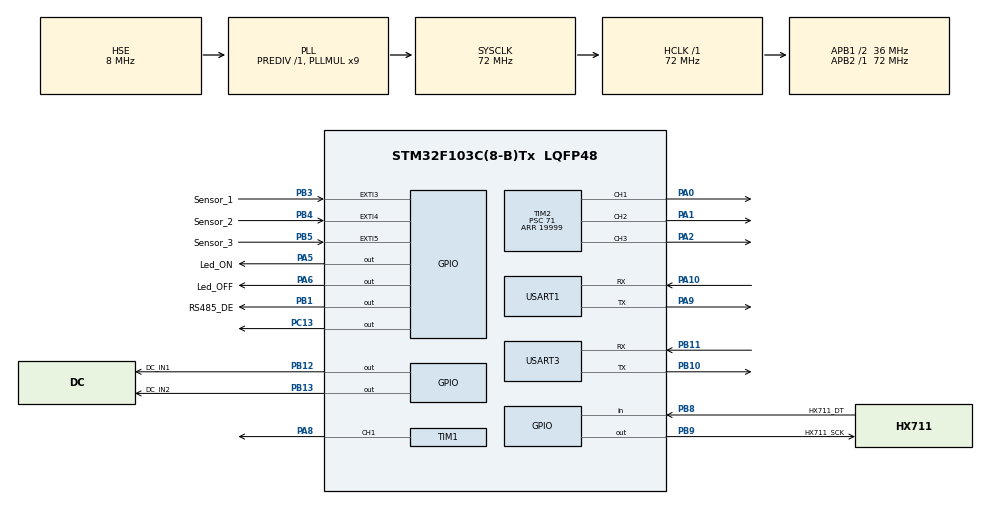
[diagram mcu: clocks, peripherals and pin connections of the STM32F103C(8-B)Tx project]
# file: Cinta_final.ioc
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IWDG.Prescaler=IWDG_PRESCALER_256
Mcu.Family=STM32F1
Mcu.Name=STM32F103C(8-B)Tx
Mcu.Package=LQFP48
NVIC.EXTI3_IRQn=true\:0\:0\:false\:false\:true\:true\:true\:true
NVIC.EXTI4_IRQn=true\:0\:0\:false\:false\:true\:true\:true\:true
NVIC.EXTI9_5_IRQn=true\:0\:0\:false\:false\:true\:true\:true\:true
NVIC.PriorityGroup=NVIC_PRIORITYGROUP_4
NVIC.USART1_IRQn=true\:0\:0\:false\:false\:true\:true\:true\:true
NVIC.USART3_IRQn=true\:0\:0\:false\:false\:true\:true\:true\:true
PA0-WKUP.Signal=S_TIM2_CH1_ETR
PA1.Signal=S_TIM2_CH2
PA10.Mode=Asynchronous
PA10.Signal=USART1_RX
PA2.Signal=S_TIM2_CH3
PA5.GPIO_Label=Led_ON
PA5.Signal=GPIO_Output
PA6.GPIO_Label=Led_OFF
PA6.Signal=GPIO_Output
PA8.Signal=S_TIM1_CH1
PA9.Mode=Asynchronous
PA9.Signal=USART1_TX
PB1.GPIO_Label=RS485_DE
PB1.Signal=GPIO_Output
PB10.Mode=Asynchronous
PB10.Signal=USART3_TX
PB11.Mode=Asynchronous
PB11.Signal=USART3_RX
PB12.GPIO_Label=DC_IN1
PB12.Signal=GPIO_Output
PB13.GPIO_Label=DC_IN2
PB13.Signal=GPIO_Output
PB3.GPIO_Label=Sensor_1
PB3.GPIO_ModeDefaultEXTI=GPIO_MODE_IT_FALLING
PB3.GPIO_PuPd=GPIO_PULLUP
PB3.Signal=GPXTI3
PB4.GPIO_Label=Sensor_2
PB4.GPIO_ModeDefaultEXTI=GPIO_MODE_IT_FALLING
PB4.GPIO_PuPd=GPIO_PULLUP
PB4.Signal=GPXTI4
PB5.GPIO_Label=Sensor_3
PB5.GPIO_ModeDefaultEXTI=GPIO_MODE_IT_FALLING
PB5.GPIO_PuPd=GPIO_PULLUP
PB5.Signal=GPXTI5
PB8.GPIO_Label=HX711_DT
PB8.Signal=GPIO_Input
PB9.GPIO_Label=HX711_SCK
PB9.Signal=GPIO_Output
PC13-TAMPER-RTC.Signal=GPIO_Output
PD0-OSC_IN.Mode=HSE-External-Oscillator
PD0-OSC_IN.Signal=RCC_OSC_IN
PD1-OSC_OUT.Mode=HSE-External-Oscillator
PD1-OSC_OUT.Signal=RCC_OSC_OUT
ProjectManager.HeapSize=0x200
ProjectManager.StackSize=0x400
ProjectManager.TargetToolchain=STM32CubeIDE
RCC.AHBFreq_Value=72000000
RCC.APB1CLKDivider=RCC_HCLK_DIV2
RCC.APB1Freq_Value=36000000
RCC.APB1TimFreq_Value=72000000
RCC.APB2Freq_Value=72000000
RCC.APB2TimFreq_Value=72000000
RCC.HCLKFreq_Value=72000000
RCC.PLLMUL=RCC_PLL_MUL9
RCC.PLLSourceVirtual=RCC_PLLSOURCE_HSE
RCC.SYSCLKFreq_VALUE=72000000
RCC.SYSCLKSource=RCC_SYSCLKSOURCE_PLLCLK
RCC.USBFreq_Value=72000000
SH.S_TIM1_CH1.0=TIM1_CH1,PWM Generation1 CH1
SH.S_TIM2_CH1_ETR.0=TIM2_CH1,PWM Generation1 CH1
SH.S_TIM2_CH2.0=TIM2_CH2,PWM Generation2 CH2
SH.S_TIM2_CH3.0=TIM2_CH3,PWM Generation3 CH3
TIM1.Channel-PWM\ Generation1\ CH1=TIM_CHANNEL_1
TIM1.Period=3559
TIM1.Prescaler=0
TIM2.Channel-PWM\ Generation1\ CH1=TIM_CHANNEL_1
TIM2.Channel-PWM\ Generation2\ CH2=TIM_CHANNEL_2
TIM2.Channel-PWM\ Generation3\ CH3=TIM_CHANNEL_3
TIM2.Period=19999
TIM2.Prescaler=71
USART1.VirtualMode=VM_ASYNC
USART3.VirtualMode=VM_ASYNC
VP_IWDG_VS_IWDG.Mode=IWDG_Activate
VP_SYS_VS_ND.Mode=No_Debug
VP_TIM1_VS_ClockSourceINT.Mode=Internal
VP_TIM2_VS_ClockSourceINT.Mode=Internal
VP_TIM3_VS_ClockSourceINT.Mode=Internal
board=custom

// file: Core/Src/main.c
/* USER CODE BEGIN Header */
/**
  ******************************************************************************
  * @file           : main.c
  * @brief          : Main program body
  ******************************************************************************
  * @attention
  *
  * Copyright (c) 2026 STMicroelectronics.
  * All rights reserved.
  *
  * This software is licensed under terms that can be found in the LICENSE file
  * in the root directory of this software component.
  * If no LICENSE file comes with this software, it is provided AS-IS.
  *
  ******************************************************************************
  ***/
/* USER CODE END Header */
#include "main.h"
#include "iwdg.h"
#include "tim.h"
#include "usart.h"
#include "gpio.h"

/* USER CODE BEGIN Includes */
#include "hx711.h"
#include <stdio.h>
#include <stdlib.h>
#include <string.h>
#include "rs485.h"
#include "protocolo_rs485.h"
/* USER CODE END Includes */

/* USER CODE BEGIN PTD */
//definicion estados y sub_estados
typedef enum
{
	E_desactivado = 	0,
	E_configurando = 	1,
	E_activado = 		2,
	E_error = 			3
} ESTADO;

typedef enum
{
	C_andando = 			0,
	C_pesando =				1,
	C_detenida =			2,
	C_esperando_reinicio =	3,
	C_acelerando =			4,
	C_desacelerando =		5,
	C_esperando_maestro =	6
} SUB_ESTADO;
/* USER CODE END PTD */

/* USER CODE BEGIN PD */
#define BUFFER_SIZE 128

#define PWM_C_andando 600 //pwm para cinta andando
#define PWM_C_detenido 250 //pwm para el cual la cinta se detiene

#define PULSE_MIN       550 // servo 0°
#define PULSE_MAX       2450 //servp 180°
#define PULSE_REPOSO    1500 //servo deja pasar objeto
#define PULSE_ABIERTO   800 //servo desvia objeto

#define PESO_DETECCION  30000 // peso minimo para deteccion de la cinta
#define PESO_LIBRE      20000 // histerisis para deteccion peso libre, para pesos menores detectamos que esta libre

#define SENSOR_ANTIRREBOTE_MS 10
#define FIFO_TAMANO 10
#define SENSOR_FILTRO_MS 1

#define RS485_RESPUESTA_DELAY_MS       5

#define CANTIDAD_CLASIFICADORES 3
#define TOLERANCIA_PESO_PORCENTAJE 5

typedef struct // estructura FIFO para procesar clasificacion
{
    uint8_t datos[FIFO_TAMANO];  //destinos
    uint8_t entrada;  //posicion donde agregar el proximo
    uint8_t salida;  //posicion del mas antigui
    uint8_t cantidad;
} FIFO;

typedef struct //estructura para definir cada clasificacion, servo=objeto
{
    uint8_t id; //id de cada servo
    int32_t peso_objetivo;

    int32_t peso_min; //rango de clasificacion
    int32_t peso_max;

    GPIO_TypeDef *sensor_port; //sensor de deteccion asociado
    uint16_t sensor_pin;
    volatile uint8_t sensor_pendiente;
    volatile uint32_t tick_sensor;
    uint32_t ultimo_sensor;

    FIFO cola; //cola de objetos a clasificar

    TIM_HandleTypeDef *timer; // timmer que envia señales al servo
    uint32_t pwm_channel;
    uint16_t pwm_reposo;
    uint16_t pwm_abierto;

} CLASIFICADOR;

/* USER CODE END PD */

/* USER CODE BEGIN PV */
static volatile ESTADO Estado = E_desactivado;
static volatile SUB_ESTADO sub_Estado = C_detenida;

//variables de la UART local
uint8_t rx_byte;
volatile uint8_t recibiendo = 0;
volatile uint8_t comando_listo = 0;
volatile uint8_t indice = 0;
char buffer_rx[BUFFER_SIZE];
char buffer_tx[BUFFER_SIZE];

int32_t weight = 0;
uint8_t configuracion_lista=0;

uint16_t valor_pwm_actual = 0;
uint32_t tiempo_fin_pesaje = 0;
uint16_t rampa_pwm_objetivo = 0;
uint16_t rampa_paso = 0;
uint32_t rampa_retardo_ms = 0;
uint32_t rampa_ultimo_tick = 0;
uint8_t sub_Estado_siguiente = 0;
int32_t pesos_estabilidad[10];
uint8_t cantidad_pesajes = 0;
uint32_t objetos_ok = 0;
uint32_t objetos_descarte = 0;
uint32_t objetos_control = 0;

CLASIFICADOR clasificadores[CANTIDAD_CLASIFICADORES];

static uint8_t aviso_esperando_pendiente = 0;
static uint16_t aviso_esperando_secuencia = 0;

static uint8_t aviso_peso_pendiente = 0;
static uint16_t aviso_peso_decigramos = 0;

/* USER CODE END PV */

void SystemClock_Config(void);
/* USER CODE BEGIN PFP */
void maquina_estados(void);
void interpretar_comando(void);
void enviar_estado_uart(void);
void Set_DutyCycle_DC_PWM(uint16_t valor_pwm);
void desactivar(void);
uint8_t Verificar_Peso_Por_Pasos(int32_t *peso_promedio);
uint8_t FIFO_Agregar(FIFO *cola, uint8_t valor);
uint8_t FIFO_Sacar(FIFO *cola, uint8_t *valor);
void FIFO_Limpiar(FIFO *cola);
uint8_t Obtener_Destino(int32_t peso);
void Procesar_Clasificador(uint8_t indice);
static void procesar_rs485_cinta(void);
static HAL_StatusTypeDef cinta_enviar_rs485(uint8_t destino,uint8_t comando,uint8_t param_h,uint8_t param_l);
static void cinta_responder_resultado(uint8_t origen,uint8_t respuesta,uint8_t comando_solicitado,uint8_t codigo);
static void cinta_generar_aviso_esperando_maestro(void);
static void cinta_generar_aviso_peso(int32_t peso_mg);
void Clasificadores_Init(void);

/* USER CODE END PFP */

int main(void)
{

  /* MCU Configuration--------------------------------------------------------*/

  /* Reset of all peripherals, Initializes the Flash interface and the Systick. */
  HAL_Init();

  /* Configure the system clock */
  SystemClock_Config();

  /* Initialize all configured peripherals */
  MX_GPIO_Init();
  MX_TIM1_Init();
  MX_TIM2_Init();
  MX_TIM3_Init();
  MX_USART1_UART_Init();
  MX_IWDG_Init();
  MX_USART3_UART_Init();
  /* USER CODE BEGIN 2 */

  Clasificadores_Init();
  HAL_UART_Receive_IT(&huart1, &rx_byte, 1);
  sprintf(buffer_tx, "Iniciando...\r\n");
  HAL_UART_Transmit(&huart1, (uint8_t*)buffer_tx, strlen(buffer_tx), HAL_MAX_DELAY);

  if (RS485_Init(&huart3, RS485_DE_GPIO_Port,RS485_DE_Pin,ID_CINTA) != HAL_OK)
  {
      Error_Handler();
  }

  //Estado inicial
  HAL_GPIO_WritePin(GPIOA, Led_ON_Pin, GPIO_PIN_RESET); //leds
  HAL_GPIO_WritePin(GPIOA, Led_OFF_Pin, GPIO_PIN_SET);
  Estado = E_desactivado;

  HX711_Init(); //inicio balanza

  HAL_GPIO_WritePin(GPIOB, DC_IN1_Pin, GPIO_PIN_RESET); // habilito motor_dc
  HAL_GPIO_WritePin(GPIOB, DC_IN2_Pin, GPIO_PIN_RESET);
  Set_DutyCycle_DC_PWM(0);

  for (uint8_t i = 0; i < CANTIDAD_CLASIFICADORES; i++) //servos en reposo
  {
      HAL_TIM_PWM_Start(clasificadores[i].timer,clasificadores[i].pwm_channel);
      __HAL_TIM_SET_COMPARE(clasificadores[i].timer,clasificadores[i].pwm_channel,clasificadores[i].pwm_reposo);
  }

  /* USER CODE END 2 */

  /* Infinite loop */
  while (1)
  {

    /* USER CODE BEGIN 3 */
	  procesar_rs485_cinta();

	  if (comando_listo == 1)
	  {
		  comando_listo = 0;
		  interpretar_comando();
	  }

	  maquina_estados();

	  if (HAL_IWDG_Refresh(&hiwdg) != HAL_OK)
	  {
	      Error_Handler();
	  }
  }
  /* USER CODE END 3 */
}

void SystemClock_Config(void)
{
  RCC_OscInitTypeDef RCC_OscInitStruct = {0};
  RCC_ClkInitTypeDef RCC_ClkInitStruct = {0};

  /** Initializes the RCC Oscillators according to the specified parameters
  * in the RCC_OscInitTypeDef structure.
  */
  RCC_OscInitStruct.OscillatorType = RCC_OSCILLATORTYPE_LSI|RCC_OSCILLATORTYPE_HSE;
  RCC_OscInitStruct.HSEState = RCC_HSE_ON;
  RCC_OscInitStruct.HSEPredivValue = RCC_HSE_PREDIV_DIV1;
  RCC_OscInitStruct.HSIState = RCC_HSI_ON;
  RCC_OscInitStruct.LSIState = RCC_LSI_ON;
  RCC_OscInitStruct.PLL.PLLState = RCC_PLL_ON;
  RCC_OscInitStruct.PLL.PLLSource = RCC_PLLSOURCE_HSE;
  RCC_OscInitStruct.PLL.PLLMUL = RCC_PLL_MUL9;
  if (HAL_RCC_OscConfig(&RCC_OscInitStruct) != HAL_OK)
  {
    Error_Handler();
  }

  /** Initializes the CPU, AHB and APB buses clocks
  */
  RCC_ClkInitStruct.ClockType = RCC_CLOCKTYPE_HCLK|RCC_CLOCKTYPE_SYSCLK
                              |RCC_CLOCKTYPE_PCLK1|RCC_CLOCKTYPE_PCLK2;
  RCC_ClkInitStruct.SYSCLKSource = RCC_SYSCLKSOURCE_PLLCLK;
  RCC_ClkInitStruct.AHBCLKDivider = RCC_SYSCLK_DIV1;
  RCC_ClkInitStruct.APB1CLKDivider = RCC_HCLK_DIV2;
  RCC_ClkInitStruct.APB2CLKDivider = RCC_HCLK_DIV1;

  if (HAL_RCC_ClockConfig(&RCC_ClkInitStruct, FLASH_LATENCY_2) != HAL_OK)
  {
    Error_Handler();
  }
}

/* USER CODE BEGIN 4 */
void Clasificadores_Init(void)
{
	// definicion de cada objeto
    clasificadores[0].id = 1;
    clasificadores[0].peso_objetivo = 50000;
    clasificadores[0].sensor_port = Sensor_1_GPIO_Port;
    clasificadores[0].sensor_pin = Sensor_1_Pin;
    clasificadores[0].timer = &htim2;
    clasificadores[0].pwm_channel = TIM_CHANNEL_1;
    clasificadores[0].pwm_reposo = PULSE_REPOSO;
    clasificadores[0].pwm_abierto = PULSE_ABIERTO;

    clasificadores[1].id = 2;
    clasificadores[1].peso_objetivo = 100000;
    clasificadores[1].sensor_port = Sensor_2_GPIO_Port;
    clasificadores[1].sensor_pin = Sensor_2_Pin;
    clasificadores[1].timer = &htim2;
    clasificadores[1].pwm_channel = TIM_CHANNEL_2;
    clasificadores[1].pwm_reposo = PULSE_REPOSO;
    clasificadores[1].pwm_abierto = PULSE_ABIERTO;

    clasificadores[2].id = 3;
    clasificadores[2].peso_objetivo = 150000;
    clasificadores[2].sensor_port = Sensor_3_GPIO_Port;
    clasificadores[2].sensor_pin = Sensor_3_Pin;
    clasificadores[2].timer = &htim2;
    clasificadores[2].pwm_channel = TIM_CHANNEL_3;
    clasificadores[2].pwm_reposo = PULSE_REPOSO;
    clasificadores[2].pwm_abierto = PULSE_ABIERTO;

    for (uint8_t i = 0; i < CANTIDAD_CLASIFICADORES; i++)
    {
    	//configuro peso min y max
        clasificadores[i].peso_min = clasificadores[i].peso_objetivo -(clasificadores[i].peso_objetivo *
        							TOLERANCIA_PESO_PORCENTAJE) / 100;

        clasificadores[i].peso_max = clasificadores[i].peso_objetivo +(clasificadores[i].peso_objetivo *
        							TOLERANCIA_PESO_PORCENTAJE) / 100;
        //inicio colas
        clasificadores[i].cola.entrada = 0;
        clasificadores[i].cola.salida = 0;
        clasificadores[i].cola.cantidad = 0;

        clasificadores[i].sensor_pendiente = 0;
        clasificadores[i].tick_sensor = 0;
        clasificadores[i].ultimo_sensor = 0;
    }
    uint32_t ahora = HAL_GetTick();
    for (uint8_t i = 0; i < CANTIDAD_CLASIFICADORES; i++)
    {
    	// inicio antirebote, asi procesa desde el inicio
        clasificadores[i].ultimo_sensor = ahora - SENSOR_ANTIRREBOTE_MS;
    }
}

void maquina_estados(void){
	switch(Estado)
	{
		  case E_desactivado:
			  break;
		  case E_configurando:
			  break;
		  case E_activado:
			  for (uint8_t i = 0; i < CANTIDAD_CLASIFICADORES; i++)// reviso si hay un sensor por procesar
			  {
				  CLASIFICADOR *c = &clasificadores[i];
				  if (c->sensor_pendiente != 0) //estaba el flag del sensor del clasificador correspondiente
				  {
					  if ((HAL_GetTick() - c->tick_sensor) >= SENSOR_FILTRO_MS)   //paso el tiempo necesario del filtrp
					  {
						  c->sensor_pendiente = 0;
						  if (HAL_GPIO_ReadPin(c->sensor_port, c->sensor_pin) == GPIO_PIN_RESET)
						  {
							  Procesar_Clasificador(i); //hay objeto en el sensor, debo prosar segun clasificacion
						  }
					  }
				  }
			  }
			  switch(sub_Estado)
			  {
				 case C_detenida:
					  //espera a pasar a C_andando
					  break;
				 case C_andando:
				 {
					HAL_StatusTypeDef estado_hx711;
					estado_hx711 =HX711_WeighNonBlocking(&weight);
					if (estado_hx711 == HAL_TIMEOUT ||estado_hx711 == HAL_ERROR){
						desactivar();
						Estado = E_error;
						snprintf(buffer_tx,sizeof(buffer_tx),"ERROR: HX711\r\n");
						HAL_UART_Transmit(&huart1,(uint8_t *)buffer_tx,strlen(buffer_tx),HAL_MAX_DELAY);
						break;
					}
					if (estado_hx711 == HAL_BUSY){
						// no hay dato listo, da otro vuelta al programa sin bloquearlo, hasta que un dato este listo
						break;
					}
					if (weight >= PESO_DETECCION) //detecto un objeto en la cinta
					{
						cantidad_pesajes = 0;

						rampa_pwm_objetivo = PWM_C_detenido;
						rampa_paso = 10;
						rampa_retardo_ms = 10;
						rampa_ultimo_tick = HAL_GetTick();
						sub_Estado_siguiente = C_esperando_maestro; //frena y espera la orden del maestro para confinuar co el pesaje
						sub_Estado = C_desacelerando;
					}
					break;
				 }
				 case C_pesando:
					switch (Verificar_Peso_Por_Pasos(&weight))
					{
						case 1: // peso estable, almacenado en weight
						{
							uint8_t destino = Obtener_Destino(weight);
							if (destino != 0){
								if (FIFO_Agregar(&clasificadores[0].cola, destino) == 0){
									desactivar();
									Estado = E_error;
									snprintf(buffer_tx,sizeof(buffer_tx),"ERROR:COLA_LLENA\r\n");
									HAL_UART_Transmit(&huart1,(uint8_t *)buffer_tx,strlen(buffer_tx),HAL_MAX_DELAY);
									break;
								}
							}
							// clasificacion exitosa, la cinta continua andando
							snprintf(buffer_tx,sizeof(buffer_tx),"Peso: %ld\r\n",(long)weight);
							HAL_UART_Transmit(&huart1,(uint8_t *)buffer_tx,strlen(buffer_tx),HAL_MAX_DELAY);

							cinta_generar_aviso_peso(weight); //levanta flag para maestro

							rampa_pwm_objetivo = PWM_C_andando; //comienza a anda denuevo
							rampa_paso = 10;
							rampa_retardo_ms = 10;
							rampa_ultimo_tick = HAL_GetTick();
							sub_Estado_siguiente = C_esperando_reinicio;
							sub_Estado = C_acelerando;
							tiempo_fin_pesaje = HAL_GetTick();
							break;
						}
						case 2:
							//Peso inestable, descarta y vuelve a tomar mediciones
							break;
						case 3:
							//Todavía faltan pesajes
							break;
						case 0: //error
						default:
							desactivar();
							Estado = E_error;
							snprintf(buffer_tx,sizeof(buffer_tx),"ERROR:\r\n");
							HAL_UART_Transmit(&huart1,(uint8_t *)buffer_tx, strlen(buffer_tx),HAL_MAX_DELAY);
							break;
						}
						break;
					case C_esperando_reinicio:
					{
						if ((HAL_GetTick() - tiempo_fin_pesaje) >= 1000){
							HAL_StatusTypeDef estado_hx711;
							estado_hx711 = HX711_WeighNonBlocking(&weight);
							if (estado_hx711 == HAL_TIMEOUT ||estado_hx711 == HAL_ERROR){
								desactivar();
								Estado = E_error;
								snprintf(buffer_tx,sizeof(buffer_tx),"ERROR: HX711\r\n");
								HAL_UART_Transmit(&huart1,(uint8_t *)buffer_tx,strlen(buffer_tx),HAL_MAX_DELAY);
							}else if ((estado_hx711 == HAL_OK) &&(weight < PESO_LIBRE)){
								sub_Estado = C_andando;
							} //si esata BUSY, da otra vuelta
						}
						break;
					}
					case C_desacelerando:
					case C_acelerando:
						if (HAL_GetTick() - rampa_ultimo_tick >= rampa_retardo_ms) {
							if (valor_pwm_actual < rampa_pwm_objetivo) {
								// Subiendo velocidad
								if ((rampa_pwm_objetivo - valor_pwm_actual) <= rampa_paso) {
									Set_DutyCycle_DC_PWM(rampa_pwm_objetivo);
								} else {
									Set_DutyCycle_DC_PWM(valor_pwm_actual + rampa_paso);
								}
							}
							else if (valor_pwm_actual > rampa_pwm_objetivo) {
								// Bajando velocidad
								if ((valor_pwm_actual - rampa_pwm_objetivo) <= rampa_paso) {
									Set_DutyCycle_DC_PWM(rampa_pwm_objetivo);
								} else {
									Set_DutyCycle_DC_PWM(valor_pwm_actual - rampa_paso);
								}
							}
							rampa_ultimo_tick = HAL_GetTick();
							if (valor_pwm_actual == rampa_pwm_objetivo) {
								if (rampa_pwm_objetivo == PWM_C_detenido) {
									Set_DutyCycle_DC_PWM(0);
									snprintf(buffer_tx,sizeof(buffer_tx),":DETENIDO\r\n");
									HAL_UART_Transmit(&huart1,(uint8_t *)buffer_tx, strlen(buffer_tx),HAL_MAX_DELAY);
								}
								sub_Estado = sub_Estado_siguiente;

								if (sub_Estado == C_esperando_maestro) {
									cinta_generar_aviso_esperando_maestro();
								}
							}
						}
						break;
					case C_esperando_maestro:
						break;

					default:
						desactivar();
						Estado = E_error;
						break;
				 }
			 break;
		 case E_error:
			 break;
		 default:
			 desactivar();
			 Estado=E_error;
			 snprintf(buffer_tx,sizeof(buffer_tx),"ERROR:\r\n");
			 HAL_UART_Transmit(&huart1,(uint8_t *)buffer_tx, strlen(buffer_tx),HAL_MAX_DELAY);
			 break;
	}
}
static void cinta_generar_aviso_esperando_maestro(void)
{
    aviso_esperando_secuencia++;

    if (aviso_esperando_secuencia == 0)
    {
        aviso_esperando_secuencia = 1;
    }
    aviso_esperando_pendiente = 1;
}

static HAL_StatusTypeDef cinta_enviar_rs485(uint8_t destino,uint8_t comando,uint8_t param_h, uint8_t param_l)
{
    HAL_Delay(RS485_RESPUESTA_DELAY_MS);

    return RS485_Send_Packet(destino,comando,param_h,param_l);
}

static void cinta_responder_resultado(uint8_t origen,uint8_t respuesta,uint8_t comando_solicitado,uint8_t codigo)
{
    if (cinta_enviar_rs485(origen,respuesta,comando_solicitado, codigo) != HAL_OK){
    	  sprintf(buffer_tx,"ERR,RS485,NO_SE_PUDO_ENVIAR_RESULTADO\r\n");
    	  HAL_UART_Transmit(&huart1, (uint8_t*)buffer_tx, strlen(buffer_tx), HAL_MAX_DELAY);
    }
}

static void procesar_rs485_cinta(void)
{
    uint8_t origen;
    uint8_t comando;
    uint8_t param_h;
    uint8_t param_l;
    uint16_t valor;

    if (rs485_paquete_listo == 0U){
        return;
    }

    origen = rs485_rx_origen;
    comando = rs485_rx_cmd;
    param_h = rs485_rx_param_h;
    param_l = rs485_rx_param_l;

    rs485_paquete_listo = 0U;

    if (origen != ID_MAESTRO){
        return;
    }

    valor = (uint16_t)(((uint16_t)param_h << 8U) | param_l);

    switch (comando)
    {
        case CMD_PING:
            if (cinta_enviar_rs485(origen,CMD_PONG,param_h,param_l) != HAL_OK){
          	  sprintf(buffer_tx,"ERR,RS485,NO_SE_PUDO_ENVIAR_PONG\r\n");
          	  HAL_UART_Transmit(&huart1, (uint8_t*)buffer_tx, strlen(buffer_tx), HAL_MAX_DELAY);
            }
            break;

        case CMD_PEDIR_ESTADO_CINTA:
            if (cinta_enviar_rs485(origen,CMD_RESP_ESTADO_CINTA,Estado,sub_Estado) != HAL_OK){
          	  sprintf(buffer_tx,"ERR,RS485,NO_SE_PUDO_ENVIAR_ESTADO\r\n");
          	  HAL_UART_Transmit(&huart1, (uint8_t*)buffer_tx, strlen(buffer_tx), HAL_MAX_DELAY);
            }
            break;

        case CMD_PEDIR_EVENTO_CINTA:

            if (aviso_esperando_pendiente != 0U) {
                if (cinta_enviar_rs485(origen,CMD_EVENTO_CINTA_ESPERANDO_MAESTRO,
                		(uint8_t)(aviso_esperando_secuencia >> 8U),
						(uint8_t)(aviso_esperando_secuencia & 0xFFU)) != HAL_OK){
                    snprintf( buffer_tx,sizeof(buffer_tx),
                        "ERR,RS485,NO_SE_PUDO_ENVIAR_EVENTO_CINTA\r\n" );

                    HAL_UART_Transmit(&huart1,(uint8_t *)buffer_tx,(uint16_t)strlen(buffer_tx),HAL_MAX_DELAY );
                }
            } else if (aviso_peso_pendiente != 0U){
                if (cinta_enviar_rs485(origen, CMD_EVENTO_CINTA_PESAJE_COMPLETO,
                        (uint8_t)(aviso_peso_decigramos >> 8U),
                        (uint8_t)(aviso_peso_decigramos & 0xFFU)) != HAL_OK){
                    snprintf( buffer_tx, sizeof(buffer_tx),
                        "ERR,RS485,NO_SE_PUDO_ENVIAR_EVENTO_PESO\r\n" );

                    HAL_UART_Transmit(&huart1,(uint8_t *)buffer_tx,(uint16_t)strlen(buffer_tx), HAL_MAX_DELAY);
                }
            }else {
                if (cinta_enviar_rs485(origen, CMD_RESP_SIN_EVENTO,0U,0U) != HAL_OK){
                    snprintf(buffer_tx,sizeof(buffer_tx),
                        "ERR,RS485,NO_SE_PUDO_RESPONDER_SIN_EVENTO\r\n");

                    HAL_UART_Transmit(&huart1,(uint8_t *)buffer_tx, (uint16_t)strlen(buffer_tx), HAL_MAX_DELAY);
                }
            }
            break;

        case CMD_CINTA_CONFIGURAR:
            if ((param_h != 0U) || (param_l != 1U)){
                cinta_responder_resultado(origen, CMD_RESP_NACK, comando,NACK_PARAMETRO_INVALIDO);
            }else if (Estado != E_desactivado){
                cinta_responder_resultado(origen, CMD_RESP_NACK, comando,NACK_ESTADO_INVALIDO);
            } else {
                Estado = E_configurando;
                configuracion_lista = 0U;
                cinta_responder_resultado(origen, CMD_RESP_ACK, comando, ACK_OK);
            }
            break;

        case CMD_CINTA_TARA:
        	HAL_GPIO_WritePin(Led_ON_GPIO_Port, Led_ON_Pin, SET);
        	HAL_GPIO_WritePin(Led_OFF_GPIO_Port, Led_OFF_Pin, RESET);

            if ((param_h != 0U) || (param_l != 1U)){
                cinta_responder_resultado(origen, CMD_RESP_NACK, comando,NACK_PARAMETRO_INVALIDO);
            	HAL_GPIO_WritePin(Led_ON_GPIO_Port, Led_ON_Pin, RESET);
            	HAL_GPIO_WritePin(Led_OFF_GPIO_Port, Led_OFF_Pin, SET);
            }else if (Estado != E_configurando){
                cinta_responder_resultado(origen, CMD_RESP_NACK, comando,NACK_ESTADO_INVALIDO);
            	HAL_GPIO_WritePin(Led_ON_GPIO_Port, Led_ON_Pin, RESET);
            	HAL_GPIO_WritePin(Led_OFF_GPIO_Port, Led_OFF_Pin, SET);
            }else if (HX711_Tare(50U) != HAL_OK){
                configuracion_lista = 0U;
                cinta_responder_resultado(origen, CMD_RESP_NACK, comando,NACK_SENSOR);
            	HAL_GPIO_WritePin(Led_ON_GPIO_Port, Led_ON_Pin, RESET);
            	HAL_GPIO_WritePin(Led_OFF_GPIO_Port, Led_OFF_Pin, SET);
            } else {
                cinta_responder_resultado(origen, CMD_RESP_ACK, comando, ACK_OK);
            	HAL_GPIO_WritePin(Led_ON_GPIO_Port, Led_ON_Pin, RESET);
            	HAL_GPIO_WritePin(Led_OFF_GPIO_Port, Led_OFF_Pin, RESET);
            }
            break;

        case CMD_CINTA_CALIBRAR:
        	HAL_GPIO_WritePin(Led_ON_GPIO_Port, Led_ON_Pin, SET);
        	HAL_GPIO_WritePin(Led_OFF_GPIO_Port, Led_OFF_Pin, RESET);
            if (Estado != E_configurando) {
                cinta_responder_resultado(origen, CMD_RESP_NACK, comando,NACK_ESTADO_INVALIDO);
            	HAL_GPIO_WritePin(Led_ON_GPIO_Port, Led_ON_Pin, RESET);
            	HAL_GPIO_WritePin(Led_OFF_GPIO_Port, Led_OFF_Pin, SET);
            }else if (tare == 0){
                cinta_responder_resultado(origen, CMD_RESP_NACK, comando,NACK_SIN_TARA);
            	HAL_GPIO_WritePin(Led_ON_GPIO_Port, Led_ON_Pin, RESET);
            	HAL_GPIO_WritePin(Led_OFF_GPIO_Port, Led_OFF_Pin, SET);
            } else if (valor == 0U){
                cinta_responder_resultado(origen, CMD_RESP_NACK, comando, NACK_FUERA_DE_RANGO);
            	HAL_GPIO_WritePin(Led_ON_GPIO_Port, Led_ON_Pin, RESET);
            	HAL_GPIO_WritePin(Led_OFF_GPIO_Port, Led_OFF_Pin, SET);
            } else if (HX711_Calibrate((float)valor * 1000.0f,50U) != HAL_OK) {
                configuracion_lista = 0U;
                cinta_responder_resultado(origen, CMD_RESP_NACK, comando, NACK_SENSOR);
            	HAL_GPIO_WritePin(Led_ON_GPIO_Port, Led_ON_Pin, RESET);
            	HAL_GPIO_WritePin(Led_OFF_GPIO_Port, Led_OFF_Pin, SET);
            } else  {
                configuracion_lista = 1U;
                cinta_responder_resultado(origen, CMD_RESP_ACK, comando, ACK_OK);
                HAL_GPIO_WritePin(Led_ON_GPIO_Port, Led_ON_Pin, RESET);
            	HAL_GPIO_WritePin(Led_OFF_GPIO_Port, Led_OFF_Pin, RESET);
            }
            break;

        case CMD_CINTA_ACTIVAR:
            if ((param_h != 0U) || (param_l > 1U)){
                cinta_responder_resultado(origen, CMD_RESP_NACK, comando, NACK_PARAMETRO_INVALIDO);
            } else if (param_l == 0U)   {
                desactivar();
                cinta_responder_resultado(origen, CMD_RESP_ACK, comando, ACK_OK);
            }  else if (configuracion_lista == 0U){
                cinta_responder_resultado(origen, CMD_RESP_NACK, comando,NACK_SIN_CONFIGURACION);
            }
            else if ((Estado != E_configurando) &&(Estado != E_desactivado)) {
                cinta_responder_resultado(origen, CMD_RESP_NACK, comando, NACK_ESTADO_INVALIDO);
            }else{
                HAL_GPIO_WritePin(Led_ON_GPIO_Port,Led_ON_Pin,GPIO_PIN_SET);
                HAL_GPIO_WritePin(Led_OFF_GPIO_Port,Led_OFF_Pin, GPIO_PIN_RESET);

                Set_DutyCycle_DC_PWM(0U);
                HAL_TIM_PWM_Start(&htim1, TIM_CHANNEL_1);
                HAL_GPIO_WritePin(DC_IN1_GPIO_Port,DC_IN1_Pin,GPIO_PIN_SET);
                HAL_GPIO_WritePin(DC_IN2_GPIO_Port,DC_IN2_Pin,GPIO_PIN_RESET);

                Estado = E_activado;
                sub_Estado = C_detenida;

                cinta_responder_resultado(origen, CMD_RESP_ACK, comando, ACK_OK);
            }
            break;

        case CMD_CINTA_CONTROL_BANDA:
            if ((param_h != 0U) || (param_l > 1U))
            {
                cinta_responder_resultado(origen, CMD_RESP_NACK, comando,NACK_PARAMETRO_INVALIDO);
            }else if (Estado != E_activado){
                cinta_responder_resultado(origen, CMD_RESP_NACK, comando,NACK_ESTADO_INVALIDO);
            }else if (param_l == 1U) {
                if (sub_Estado != C_detenida){
                    cinta_responder_resultado(origen, CMD_RESP_NACK, comando,NACK_OCUPADO);
                } else {
                    rampa_pwm_objetivo = PWM_C_andando;
                    rampa_paso = 10U;
                    rampa_retardo_ms = 10U;
                    rampa_ultimo_tick = HAL_GetTick();
                    sub_Estado_siguiente = C_andando;
                    sub_Estado = C_acelerando;

                    cinta_responder_resultado(origen, CMD_RESP_ACK, comando, ACK_OK);
                }
            }else if (param_l == 0U){
                if (valor_pwm_actual <= PWM_C_detenido){sub_Estado = C_detenida;
                    Set_DutyCycle_DC_PWM(0U);
                } else {
                    rampa_pwm_objetivo = PWM_C_detenido;
                    rampa_paso = 10U;
                    rampa_retardo_ms = 10U;
                    rampa_ultimo_tick = HAL_GetTick();
                    sub_Estado_siguiente = C_detenida;
                    sub_Estado = C_desacelerando;
                }

                cinta_responder_resultado(origen, CMD_RESP_ACK, comando, ACK_OK);
            }
            break;

        case CMD_CONFIRMAR_EVENTO_CINTA:
            if ((aviso_esperando_pendiente != 0U) &&(valor == aviso_esperando_secuencia)) {
                aviso_esperando_pendiente = 0U;
            }
            break;

        case CMD_CONFIRMAR_EVENTO_CINTA_PESAJE:
            if ((aviso_peso_pendiente != 0U) &&
                (valor == aviso_peso_decigramos))
            {
                aviso_peso_pendiente = 0U;
            }
            break;

        case CMD_CINTA_CONTINUAR_PESAJE:
            if ((param_h != 0) || (param_l != 1)){
                cinta_responder_resultado(origen, CMD_RESP_NACK, comando,NACK_PARAMETRO_INVALIDO);
            } else if ((Estado != E_activado) || (sub_Estado != C_esperando_maestro)) {
                cinta_responder_resultado(origen, CMD_RESP_NACK, comando,NACK_ESTADO_INVALIDO);
            } else {
                aviso_esperando_pendiente = 0;
                cantidad_pesajes = 0;
                sub_Estado = C_pesando;

                cinta_responder_resultado(origen, CMD_RESP_ACK, comando, ACK_OK);
            }
            break;

        default:
            cinta_responder_resultado(origen,CMD_RESP_NACK,comando,NACK_COMANDO_NO_SOPORTADO);
            break;
    }
}

void interpretar_comando(void){
	switch (buffer_rx[0]){
		case 'A':
			if(buffer_rx[1]=='1'){
		        if (configuracion_lista == 1){
				HAL_GPIO_WritePin(GPIOA,Led_ON_Pin, GPIO_PIN_SET);
				HAL_GPIO_WritePin(GPIOA,Led_OFF_Pin, GPIO_PIN_RESET);
				Estado= E_activado;

				//ACTIVAR MOTOR_dc
				Set_DutyCycle_DC_PWM(0);
				HAL_TIM_PWM_Start(&htim1, TIM_CHANNEL_1);
				HAL_GPIO_WritePin(GPIOB, DC_IN1_Pin, GPIO_PIN_SET);
				HAL_GPIO_WritePin(GPIOB, DC_IN2_Pin, GPIO_PIN_RESET);
				sub_Estado = C_detenida;
				snprintf(buffer_tx,sizeof(buffer_tx),"ACTIVADO\r\n");
				HAL_UART_Transmit(&huart1,(uint8_t *)buffer_tx,strlen(buffer_tx),HAL_MAX_DELAY);
		        }
			}else if(buffer_rx[1]=='0') {
				desactivar();
				Estado= E_desactivado;
				snprintf(buffer_tx,sizeof(buffer_tx),"DESACTIVADO\r\n");
				HAL_UART_Transmit(&huart1,(uint8_t *)buffer_tx,strlen(buffer_tx),HAL_MAX_DELAY);
			}
			break;
		case 'C':
		    if (Estado == E_desactivado){
		        Estado = E_configurando;
		        configuracion_lista = 0;
				snprintf(buffer_tx,sizeof(buffer_tx),"CONFIGURANDO...\r\n");
				HAL_UART_Transmit(&huart1,(uint8_t *)buffer_tx,strlen(buffer_tx),HAL_MAX_DELAY);
		    }
			break;
		case 'T':
			if (Estado==E_configurando){
				  HAL_GPIO_WritePin(GPIOA, Led_OFF_Pin, GPIO_PIN_RESET);
				  HAL_GPIO_WritePin(GPIOA, Led_ON_Pin, GPIO_PIN_SET);
				  if (HX711_Tare(50) != HAL_OK){
					  HAL_GPIO_WritePin(GPIOA, Led_ON_Pin, GPIO_PIN_RESET);
					  HAL_GPIO_WritePin(GPIOA, Led_OFF_Pin, GPIO_PIN_SET);
				      configuracion_lista = 0;
					  snprintf(buffer_tx,sizeof(buffer_tx),"ERROR: HX711\r\n");
					  HAL_UART_Transmit(&huart1,(uint8_t *)buffer_tx, strlen(buffer_tx),HAL_MAX_DELAY);
				      break;
				  }
				  HAL_GPIO_WritePin(GPIOA, Led_ON_Pin, GPIO_PIN_RESET);
		          snprintf(buffer_tx, sizeof(buffer_tx),"Tare: %ld\r\n",tare);
		          HAL_UART_Transmit(&huart1, (uint8_t*)buffer_tx, strlen(buffer_tx), HAL_MAX_DELAY);
			}
		break;
		case 'F':
			if (Estado==E_configurando){
				if(tare != 0){
					int pesoGramos = atoi(&buffer_rx[1]);
					if (pesoGramos > 0){
						float pesoMiligramos =(float)pesoGramos * 1000.0f;
						HAL_GPIO_WritePin(GPIOA, Led_ON_Pin, GPIO_PIN_SET);
						HAL_GPIO_WritePin(GPIOA, Led_OFF_Pin, GPIO_PIN_RESET);
						if (HX711_Calibrate(pesoMiligramos, 50) == HAL_OK){
						    configuracion_lista = 1;
						}else{
							HAL_GPIO_WritePin(GPIOA, Led_ON_Pin, GPIO_PIN_RESET);
							HAL_GPIO_WritePin(GPIOA, Led_OFF_Pin, GPIO_PIN_SET);
						    configuracion_lista = 0;
		 		 	        snprintf(buffer_tx,sizeof(buffer_tx),"ERROR: HX711\r\n");
		 		 	        HAL_UART_Transmit(&huart1,(uint8_t *)buffer_tx, strlen(buffer_tx),HAL_MAX_DELAY);
						    break;
						}
						HAL_GPIO_WritePin(GPIOA,Led_ON_Pin | Led_OFF_Pin,GPIO_PIN_RESET);
						snprintf(buffer_tx, sizeof(buffer_tx),"Factor: %.6f\r\n",calibrationFactor);
						HAL_UART_Transmit(&huart1, (uint8_t*)buffer_tx, strlen(buffer_tx), HAL_MAX_DELAY);
					}
				}else{
					Estado=E_desactivado;
					desactivar();
					configuracion_lista=0;
 		 	        snprintf(buffer_tx,sizeof(buffer_tx),"ERROR: NO TARA\r\n");
 		 	        HAL_UART_Transmit(&huart1,(uint8_t *)buffer_tx, strlen(buffer_tx),HAL_MAX_DELAY);
				}
			}
		break;
		case 'B':
		    if (buffer_rx[1] == '1'){
		        if ((Estado == E_activado) &&(sub_Estado == C_detenida)){
		        	//enciendo motor
		        	rampa_pwm_objetivo = PWM_C_andando;
					rampa_paso = 10;
					rampa_retardo_ms = 10;
					rampa_ultimo_tick = HAL_GetTick();
					sub_Estado_siguiente = C_andando;
					sub_Estado = C_acelerando;
		        }
		    }else if (buffer_rx[1] == '0'){
		        if (Estado == E_activado){
		            if (valor_pwm_actual <= PWM_C_detenido){
		                sub_Estado = C_detenida;
						Set_DutyCycle_DC_PWM(0);
		            }else{
		                rampa_pwm_objetivo = PWM_C_detenido;
		                rampa_paso = 10;
		                rampa_retardo_ms = 10;
		                rampa_ultimo_tick = HAL_GetTick();
		                sub_Estado_siguiente = C_detenida;
		                sub_Estado = C_desacelerando;
		            }
		        }
		    }
		    break;
		case 'D':
			if(buffer_rx[1]=='1'){
	            if ((Estado == E_activado) &&(sub_Estado == C_esperando_maestro)){
	                cantidad_pesajes = 0;
	                sub_Estado = C_pesando;
	                aviso_esperando_pendiente = 0U;
	            }
			}
			break;
		default:
			break;
	}
}

void Set_DutyCycle_DC_PWM(uint16_t valor_pwm)
{
	if (valor_pwm <= 1000)
	{
	    TIM1->CCR1 =((uint32_t)valor_pwm * (TIM1->ARR + 1) + 500U) / 1000U;
	    valor_pwm_actual = valor_pwm;
	}
}
void desactivar(void){
    Estado = E_desactivado;

	HAL_GPIO_WritePin(GPIOA, Led_ON_Pin, GPIO_PIN_RESET);
	HAL_GPIO_WritePin(GPIOA, Led_OFF_Pin, GPIO_PIN_SET);

	Set_DutyCycle_DC_PWM(0);
	HAL_GPIO_WritePin(GPIOB,DC_IN1_Pin,GPIO_PIN_RESET);
	HAL_GPIO_WritePin(GPIOB,DC_IN2_Pin,GPIO_PIN_RESET);
	HAL_TIM_PWM_Stop(&htim1, TIM_CHANNEL_1);

	uint32_t ahora = HAL_GetTick();
	for (uint8_t i = 0; i < CANTIDAD_CLASIFICADORES; i++)
	{
	    CLASIFICADOR *c = &clasificadores[i];
	    __HAL_TIM_SET_COMPARE(c->timer,c->pwm_channel,c->pwm_reposo); //cerrar servos
	    FIFO_Limpiar(&c->cola); //vaciar cola
	    c->sensor_pendiente = 0; //eliminar eventos pendientes del sensor
	    c->tick_sensor = 0;
	    c->ultimo_sensor = ahora;
	}

	sub_Estado = C_detenida;
    cantidad_pesajes = 0;
    weight = 0;

    aviso_esperando_pendiente = 0U;
    aviso_peso_pendiente = 0U;

}
uint8_t Verificar_Peso_Por_Pasos(int32_t *peso_promedio)
{
    int64_t suma = 0;
    int32_t peso_minimo;
    int32_t peso_maximo;
    float desviacion;
    int32_t nueva_muestra;
    HAL_StatusTypeDef estado;
    estado = HX711_WeighNonBlocking(&nueva_muestra);
    if (estado == HAL_BUSY)
    {
        return 3;//no hay dato
    }
    if (estado != HAL_OK)
    {
        cantidad_pesajes = 0;//error
        return 0;
    }
    pesos_estabilidad[cantidad_pesajes] = nueva_muestra;
    cantidad_pesajes++;

    if (cantidad_pesajes < 10)
    {
        return 3; //faltan muestras
    }
    peso_minimo = pesos_estabilidad[0];
    peso_maximo = pesos_estabilidad[0];
    for (uint8_t i = 0; i < 10; i++)
    {
        suma += pesos_estabilidad[i];
        if (pesos_estabilidad[i] < peso_minimo) {
            peso_minimo = pesos_estabilidad[i];
        }

        if (pesos_estabilidad[i] > peso_maximo){
            peso_maximo = pesos_estabilidad[i];
        }
    }

    *peso_promedio = (int32_t)(suma / 10);

    cantidad_pesajes = 0;  //reiniciamos la variable auxiliar

    if (*peso_promedio == 0) {
        return 2; // error de estabilidad
    }
    desviacion = ((float)(peso_maximo - peso_minimo) * 100.0f) /(float)(*peso_promedio);
    if (desviacion > 5.0f){
        return 2; // desviacion alta
    }
    return 1; //ok
}

uint8_t FIFO_Agregar(FIFO *cola, uint8_t valor)
{
    if (cola->cantidad >= FIFO_TAMANO){
        return 0;
    }
    cola->datos[cola->entrada] = valor;  //datos son los destinos, entrada el indice del valor mas nuevo
    cola->entrada++;
    if (cola->entrada >= FIFO_TAMANO){
        cola->entrada = 0;  //vuelve a cero → buffer circular
    }
    cola->cantidad++;
    return 1;
}
uint8_t FIFO_Sacar(FIFO *cola, uint8_t *valor)
{
    if (cola->cantidad == 0){
        return 0;
    }
    *valor = cola->datos[cola->salida];
    cola->salida++;  //aumenta porque va siguiendo los datos que van entrando
    if (cola->salida >= FIFO_TAMANO)    {
        cola->salida = 0;   //vuelve a cero porque es circular, igual que el anterior
    }
    cola->cantidad--;
    return 1;
}

void FIFO_Limpiar(FIFO *cola)
{
    cola->entrada = 0;
    cola->salida = 0;
    cola->cantidad = 0;
}

uint8_t Obtener_Destino(int32_t peso)
{
    for (uint8_t i = 0; i < CANTIDAD_CLASIFICADORES; i++)
    {
        if ((peso >= clasificadores[i].peso_min) &&
            (peso <= clasificadores[i].peso_max))
        {
            objetos_ok++;
            return clasificadores[i].id;  //obtendriamos 1,2 o 3, en funcion del destino que le toque
        }
    }

    objetos_descarte++;
    return (CANTIDAD_CLASIFICADORES +1);  //si es descarte, seria 4 en este caso
}

void Procesar_Clasificador(uint8_t indice)
{
    CLASIFICADOR *c = &clasificadores[indice];

    uint8_t destino;

    if (FIFO_Sacar(&c->cola, &destino) == 0)  //singifica que la cantidad de datos registrados era 0 en la cola
    {

        snprintf(buffer_tx,sizeof(buffer_tx),"ERROR: OBJETO NO CLASIFICADO %u\r\n",c->id);
        HAL_UART_Transmit(&huart1,(uint8_t *)buffer_tx,strlen(buffer_tx),HAL_MAX_DELAY);
        return;
    }

    if (destino == c->id){
    	__HAL_TIM_SET_COMPARE(c->timer,c->pwm_channel, c->pwm_abierto);
        objetos_control++;
    } else {
        __HAL_TIM_SET_COMPARE(c->timer, c->pwm_channel, c->pwm_reposo);

        if (indice + 1 < CANTIDAD_CLASIFICADORES){
            if (FIFO_Agregar(&clasificadores[indice + 1].cola,destino) == 0){
                desactivar();
                Estado = E_error;

                snprintf( buffer_tx, sizeof(buffer_tx), "ERROR: COLA LLENA\r\n");
                HAL_UART_Transmit( &huart1, (uint8_t *)buffer_tx,strlen(buffer_tx),HAL_MAX_DELAY
                );
            }
        } else {
            // Llego al final sin encontrar su destino, es descarte
        }
    }
}
static void cinta_generar_aviso_peso(int32_t peso_mg)
{
    uint32_t peso_decigramos;

    if (peso_mg <= 0){
        peso_decigramos = 0U;
    } else {
        peso_decigramos = ((uint32_t)peso_mg + 50) / 100;
    }

    if (peso_decigramos > 65535){
        peso_decigramos = 65535U;
    }

    aviso_peso_decigramos = (uint16_t)peso_decigramos;
    aviso_peso_pendiente = 1U;
}

void HAL_GPIO_EXTI_Callback(uint16_t GPIO_Pin)
{
    if (Estado != E_activado)
    {
        return;
    }

    uint32_t ahora = HAL_GetTick();

    for (uint8_t i = 0; i < CANTIDAD_CLASIFICADORES; i++)
    {
        CLASIFICADOR *c = &clasificadores[i];

        if (GPIO_Pin == c->sensor_pin)
        {
            if (((ahora - c->ultimo_sensor) >= SENSOR_ANTIRREBOTE_MS) &&
                (c->sensor_pendiente == 0U))
            {
                c->ultimo_sensor = ahora;
                c->sensor_pendiente = 1U;
                c->tick_sensor = ahora;
            }

            break;
        }
    }
}

void HAL_UART_RxCpltCallback(UART_HandleTypeDef *huart)
{
    if (huart->Instance == USART3)
    {
        RS485_Rx_Callback(huart);
    }
    if (huart->Instance == USART1)
    {
        char dato = (char)rx_byte;

        if (dato == ':')
        {
            recibiendo = 1;
            indice = 0;
        }
        else if (recibiendo == 1)
        {
            switch (dato)
            {
                case '\n':
                case '\r':
                    buffer_rx[indice] = '\0';
                    recibiendo = 0;
                    comando_listo = 1;
                    break;

                default:
                    if (indice < BUFFER_SIZE - 1)
                    {
                        buffer_rx[indice++] = dato;
                    }
                    break;
            }
        }
        // Muy importante:
        HAL_UART_Receive_IT(&huart1, &rx_byte, 1);
    }
}

void HAL_UART_ErrorCallback(UART_HandleTypeDef *huart)
{
    if (huart == NULL)
    {
        return;
    }

    if (huart->Instance == USART3)
    {
        RS485_Error_Callback(huart);
    }
    else if (huart->Instance == USART1)
    {
        recibiendo = 0U;
        indice = 0U;
        (void)HAL_UART_Receive_IT(&huart1, &rx_byte, 1U);
    }
}

/* USER CODE END 4 */

void Error_Handler(void)
{
  /* USER CODE BEGIN Error_Handler_Debug */
  __disable_irq();

  while (1)
  {
      HAL_GPIO_TogglePin(GPIOC, GPIO_PIN_13);

      for (volatile uint32_t i = 0U; i < 1000000U; i++)
      {
          __NOP();
      }
  }

  /* USER CODE END Error_Handler_Debug */
}
